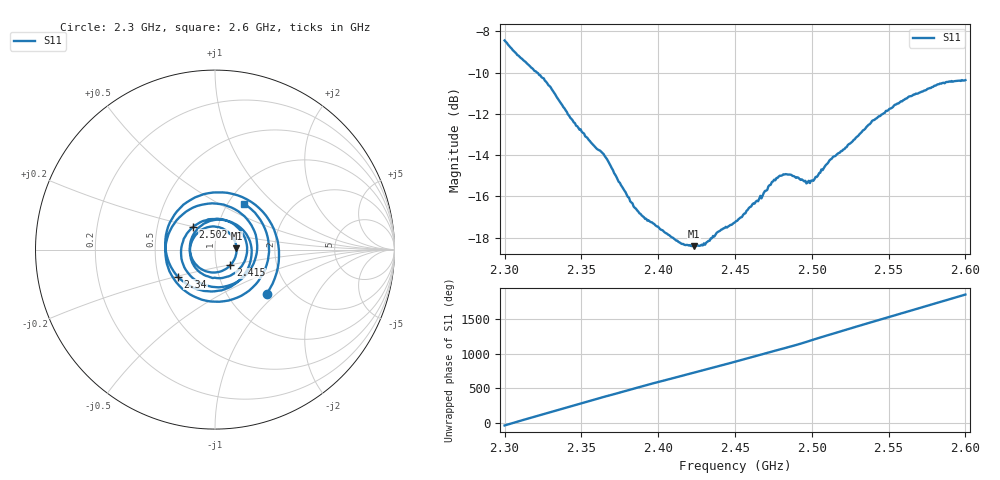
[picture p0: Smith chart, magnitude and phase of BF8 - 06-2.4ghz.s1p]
! NanoVNA-App
! Date: 2026-05-22 16:40:05
! Start: 2.3GHz Stop: 2.6GHz Points: 401
! S-Parameter data: F S11
# Hz S RI R 50
!  Frequency  S11_Real  S11_Imag
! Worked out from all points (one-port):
!   401 points, 2.3 GHz to 2.6 GHz, reference 50 ohm
!   lowest |S11| = -18.4 dB at 2.423 GHz (marker M1), VSWR 1.27, Z = 63.6 + j0.911 ohm
!   |S11| at or under -10 dB: 2.321 GHz to end of sweep
!   S11 on the Smith chart (normalised r, x): 2.3 GHz: 1.51, -0.87; 2.34 GHz: 0.63, -0.20; 2.415 GHz: 1.17, -0.21; 2.502 GHz: 0.76, +0.20; 2.6 GHz: 1.18, +0.67
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2.3e9  0.2878 -0.2455
2.30825e9  0.3381 0.0852
2.31875e9  0.0434 0.3187
2.3285e9  -0.2395 0.1718
2.3375e9  -0.2454 -0.0964
2.33975e9  -0.2073 -0.1505
2.34875e9  0.0195 -0.2291
2.3585e9  0.1925 -0.083
2.375e9  0.0396 0.1663
2.3915e9  -0.1397 0.00202
2.4125e9  0.0649 -0.1053
2.41475e9  0.0859 -0.0865
2.423e9  0.1198 0.00706
2.43725e9  0.00405 0.1277
2.45e9  -0.1314 0.039
2.4695e9  0.0393 -0.1585
2.4875e9  0.1505 0.0942
2.5025e9  -0.1239 0.1258
2.513e9  -0.1768 -0.0836
2.525e9  0.0558 -0.2054
2.537e9  0.2354 0.0206
2.54825e9  0.0481 0.2507
2.555e9  -0.1423 0.2232
2.5625e9  -0.272 0.0407
2.56925e9  -0.228 -0.165
2.579e9  0.0505 -0.2876
2.5895e9  0.2953 -0.0577
2.6e9  0.1621 0.2562
